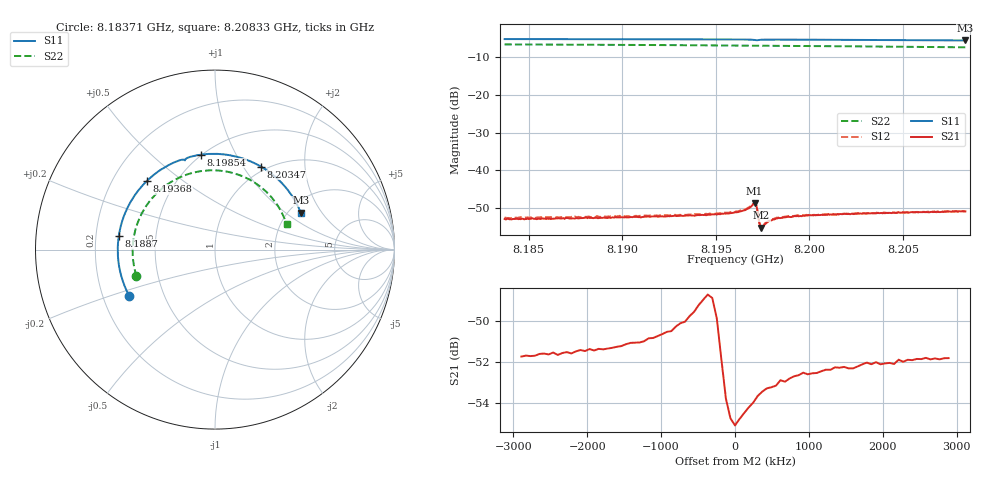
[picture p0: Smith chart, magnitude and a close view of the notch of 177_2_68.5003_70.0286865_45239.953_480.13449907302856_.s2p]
#  HZ  S  RI  R  50.00
! Rohde & Schwarz Vector Network Analyzer
! Rohde-Schwarz,ZNB20-2Port,1311601062101988,3.16
! Created: UTC 3/20/2024, 4:56:33 PM
! freq[Hz]  re:S11  im:S11  re:S21  im:S21  re:S12  im:S12  re:S22  im:S22
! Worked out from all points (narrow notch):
!   401 points, 8.18371 GHz to 8.20833 GHz, reference 50 ohm
!   highest |S21| = -48.68 dB at 8.19707 GHz (marker M1); lowest = -55.1 dB at 8.19744 GHz (marker M2)
!   notch at M2: 3.2 dB deep, 483 kHz wide at half that depth
!   lowest |S11| = -5.7 dB at 8.20833 GHz (marker M3), VSWR 3.17, Z = 116 + j65.3 ohm
!   |S11| at or under -10 dB: nowhere
!   |S22| runs from -7.5 to -6.7 dB; largest |S21 - S12| = 0.00021
!   S11 on the Smith chart (normalised r, x): 8.18371 GHz: 0.31, -0.23; 8.1887 GHz: 0.30, +0.06; 8.19368 GHz: 0.35, +0.37; 8.19854 GHz: 0.49, +0.73; 8.20347 GHz: 0.94, +1.21; 8.20833 GHz: 2.32, +1.31
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8.183713e9  -0.4765 -0.2605  0.000861 -0.00212  0.000863 -0.00221  -0.4374 -0.1481
8.185805e9  -0.5279 -0.1245  0.000279 -0.00229  0.00025 -0.00236  -0.4584 -0.0342
8.187836e9  -0.5415 0.0163  -0.000312 -0.00233  -0.000376 -0.0024  -0.4509 0.0779
8.188698e9  -0.5361 0.0762  -0.000557 -0.00227  -0.000594 -0.0024  -0.4394 0.1242
8.191959e9  -0.4562 0.2888  -0.00148 -0.00196  -0.00158 -0.00197  -0.354 0.2824
8.193682e9  -0.3797 0.3823  -0.00193 -0.00165  -0.00203 -0.00165  -0.285 0.349
8.196021e9  -0.2453 0.4776  -0.0026 -0.00105  -0.00265 -0.000975  -0.1715 0.4128
8.196513e9  -0.2127 0.4919  -0.00284 -0.000907  -0.00292 -0.000781  -0.1452 0.4218
8.197005e9  -0.1759 0.5011  -0.00357 -0.000142  -0.00367 -4.57e-05  -0.1185 0.4292
8.197067e9  -0.1713 0.5003  -0.00367 0.000261  -0.00374 0.000403  -0.1152 0.4299
8.19719e9  -0.1672 0.4971  -0.00297 0.00123  -0.00298 0.00137  -0.1086 0.4314
8.197374e9  -0.1625 0.5056  -0.00177 0.000451  -0.00178 0.000541  -0.0986 0.4335
8.197436e9  -0.1584 0.5085  -0.00174 0.000212  -0.00183 0.000309  -0.0951 0.4342
8.197559e9  -0.1494 0.5127  -0.00188 -8.26e-05  -0.00189 -5.83e-06  -0.0881 0.4356
8.197928e9  -0.1227 0.5207  -0.00216 -0.000264  -0.00221 -0.000176  -0.0677 0.4387
8.198544e9  -0.0791 0.5289  -0.00236 -0.000157  -0.00243 -5.33e-05  -0.0331 0.4414
8.200144e9  0.0343 0.532  -0.00254 0.000355  -0.00253 0.000471  0.0575 0.436
8.201805e9  0.1495 0.5094  -0.00248 0.000963  -0.00245 0.00109  0.1486 0.4105
8.203467e9  0.2569 0.4621  -0.00225 0.00152  -0.00218 0.00165  0.2326 0.3655
8.204267e9  0.3042 0.4308  -0.00208 0.00181  -0.00203 0.00186  0.2693 0.3372
8.206359e9  0.4094 0.3268  -0.00152 0.00236  -0.00145 0.00245  0.3494 0.2454
8.208328e9  0.4782 0.2052  -0.000823 0.00276  -0.000766 0.00278  0.3991 0.14
